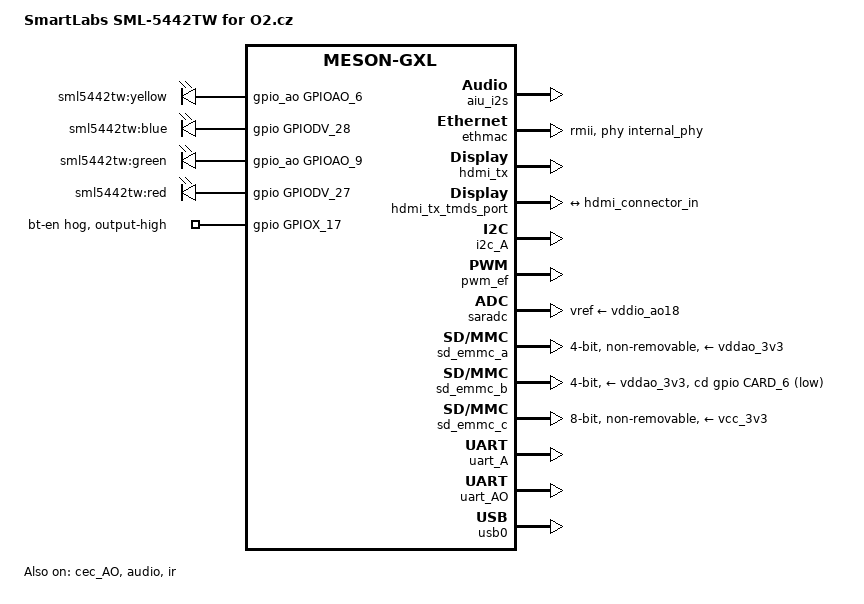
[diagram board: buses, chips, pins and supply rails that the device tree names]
// SPDX-License-Identifier: (GPL-2.0+ OR MIT)
/*
 * Copyright (c) Christian Hewitt <christianshewitt@gmail.com>
 */

/dts-v1/;

#include "meson-gxl-s905d-p231.dts"

/ {
	compatible = "smartlabs,sml5442tw", "amlogic,s905d", "amlogic,meson-gxl";
	model = "SmartLabs SML-5442TW for O2.cz";

	aliases {
		serial1 = &uart_A;
	};

	leds {
		compatible = "gpio-leds";

		yellow {
			label = "sml5442tw:yellow";
			gpios = <&gpio_ao GPIOAO_6 GPIO_ACTIVE_HIGH>;
			default-state = "off";
		};

		blue {
			label = "sml5442tw:blue";
			gpios = <&gpio GPIODV_28 GPIO_ACTIVE_HIGH>;
			default-state = "off";
		};

		green {
			label = "sml5442tw:green";
			gpios = <&gpio_ao GPIOAO_9 GPIO_ACTIVE_HIGH>;
			default-state = "on";
		};

		red {
			label = "sml5442tw:red";
			gpios = <&gpio GPIODV_27 GPIO_ACTIVE_HIGH>;
			default-state = "off";
		};
	};
};

&cec_AO {
	status = "okay";
	pinctrl-0 = <&ao_cec_pins>;
	pinctrl-names = "default";
	hdmi-phandle = <&hdmi_tx>;
};

&audio {
	status = "okay";
};

&aiu_i2s {
	status = "okay";
};

&cvbs_vdac_port {
	cvbs_vdac_out: endpoint {
		remote-endpoint = <&cvbs_connector_in>;
	};
};

&ethmac {
	status = "okay";
	phy-mode = "rmii";
	phy-handle = <&internal_phy>;
};

/* This will enable the bluetooth module */
&gpio {
	bt-en {
		gpio-hog;
		gpios = <GPIOX_17 GPIO_ACTIVE_HIGH>;
		output-high;
		line-name = "bt-en";
	};
};

&hdmi_tx {
	status = "okay";
	pinctrl-0 = <&hdmi_hpd_pins>, <&hdmi_i2c_pins>;
	pinctrl-names = "default";
};

&hdmi_tx_tmds_port {
	hdmi_tx_tmds_out: endpoint {
		remote-endpoint = <&hdmi_connector_in>;
	};
};

&i2c_A {
	status = "okay";
	pinctrl-0 = <&i2c_a_pins>;
	pinctrl-names = "default";
};

&internal_phy {
        pinctrl-0 = <&eth_link_led_pins>, <&eth_act_led_pins>;
        pinctrl-names = "default";
};

&ir {
        status = "okay";
        pinctrl-0 = <&remote_input_ao_pins>;
        pinctrl-names = "default";
        linux,rc-map-name = "rc-khamsin";
};

&pwm_ef {
	status = "okay";
	pinctrl-0 = <&pwm_e_pins>;
	pinctrl-names = "default";
	clocks = <&clkc CLKID_FCLK_DIV4>;
	clock-names = "clkin0";
};

&saradc {
        status = "okay";
        vref-supply = <&vddio_ao18>;
};

/* Wireless SDIO Module */
&sd_emmc_a {
	status = "okay";
	pinctrl-0 = <&sdio_pins>;
	pinctrl-1 = <&sdio_clk_gate_pins>;
	pinctrl-names = "default", "clk-gate";
	#address-cells = <1>;
	#size-cells = <0>;

	bus-width = <4>;
	cap-sd-highspeed;
	max-frequency = <100000000>;

	non-removable;
	disable-wp;

	mmc-pwrseq = <&sdio_pwrseq>;

	vmmc-supply = <&vddao_3v3>;
	vqmmc-supply = <&vddio_boot>;
};

/* SD card */
&sd_emmc_b {
	status = "okay";
	pinctrl-0 = <&sdcard_pins>;
	pinctrl-1 = <&sdcard_clk_gate_pins>;
	pinctrl-names = "default", "clk-gate";

	bus-width = <4>;
	cap-sd-highspeed;
	max-frequency = <100000000>;
	disable-wp;

	cd-gpios = <&gpio CARD_6 GPIO_ACTIVE_LOW>;

	vmmc-supply = <&vddao_3v3>;
	vqmmc-supply = <&vddio_boot>;
};

/* eMMC */
&sd_emmc_c {
	status = "okay";
	pinctrl-0 = <&emmc_pins>, <&emmc_ds_pins>;
	pinctrl-1 = <&emmc_clk_gate_pins>;
	pinctrl-names = "default", "clk-gate";

	bus-width = <8>;
	cap-mmc-highspeed;
	max-frequency = <200000000>;
	non-removable;
	disable-wp;
	mmc-ddr-1_8v;
	mmc-hs200-1_8v;

	mmc-pwrseq = <&emmc_pwrseq>;
	vmmc-supply = <&vcc_3v3>;
	vqmmc-supply = <&vddio_boot>;
};

/* This is connected to the Bluetooth module: */
&uart_A {
	status = "okay";
	pinctrl-0 = <&uart_a_pins>, <&uart_a_cts_rts_pins>;
	pinctrl-names = "default";
};

&uart_AO {
	status = "okay";
	pinctrl-0 = <&uart_ao_a_pins>;
	pinctrl-names = "default";
};

&usb0 {
	status = "okay";
};
